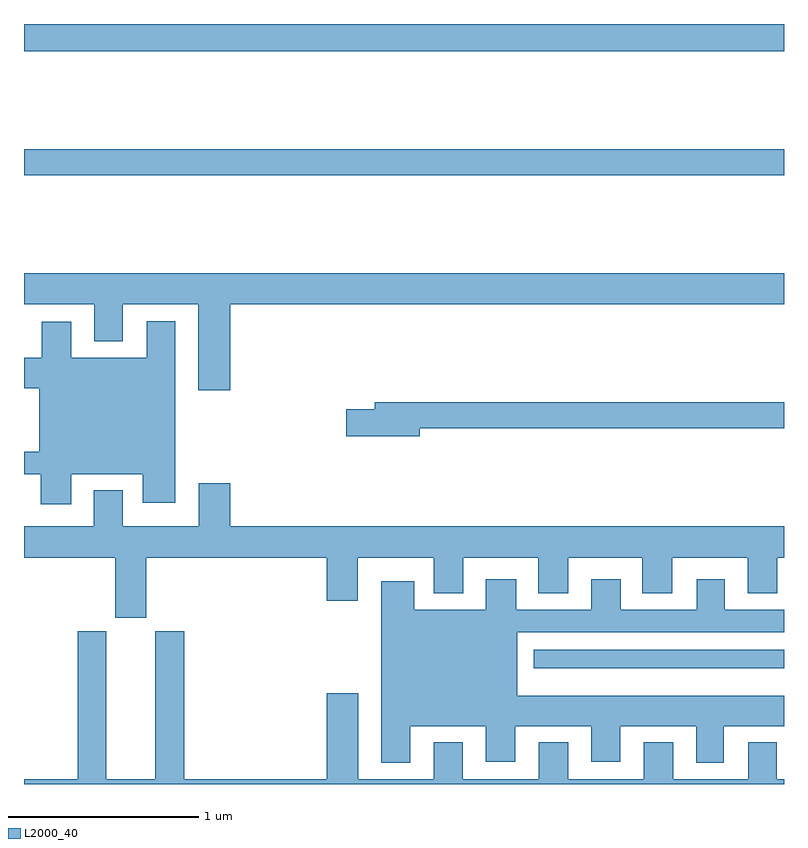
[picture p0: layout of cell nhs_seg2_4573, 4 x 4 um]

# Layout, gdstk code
import gdstk
lib = gdstk.Library(unit=1e-6, precision=1e-09)
def R(c, l, rs):  # rectangles x0, y0, x1, y1
    for r in rs: c.add(gdstk.rectangle(r[:2], r[2:], *l))
def P(c, l, *ps):  # polygons
    for p in ps: c.add(gdstk.Polygon(p, *l))
L2000_40 = (2000, 40)

nhs_seg2_4573 = lib.new_cell('nhs_seg2_4573')
R(nhs_seg2_4573, L2000_40, [(361.682,624.41,363,624.507), (359,627.004,363,627.14), (359,627.656,363,627.8)])
P(nhs_seg2_4573, L2000_40, [(360.086,626.324),(363,626.324),(363,626.488),(359,626.488),(359,626.324),(359.369,626.324),(359.369,626.13),(359.521,626.13),(359.521,626.324),(359.918,626.324),(359.918,625.872),(360.086,625.872)],
  [(359.248,625.43),(359.624,625.43),(359.624,625.28),(359.797,625.28),(359.797,626.236),(359.645,626.236),(359.645,626.044),(359.248,626.044),(359.248,626.233),(359.093,626.233),(359.093,626.044),(359,626.044),(359,625.883),(359.081,625.883),(359.081,625.549),(359,625.549),(359,625.43),(359.087,625.43),(359.087,625.272),(359.248,625.272)],
  [(361.084,625.672),(363,625.672),(363,625.808),(360.845,625.808),(360.845,625.772),(360.696,625.772),(360.696,625.63),(361.084,625.63)],
  [(359.644,624.992),(360.593,624.992),(360.593,624.765),(360.757,624.765),(360.757,624.992),(361.157,624.992),(361.157,624.803),(361.312,624.803),(361.312,624.992),(361.706,624.992),(361.706,624.803),(361.864,624.803),(361.864,624.992),(362.255,624.992),(362.255,624.803),(362.413,624.803),(362.413,624.992),(362.81,624.992),(362.81,624.803),(362.965,624.803),(362.965,624.992),(363,624.992),(363,625.156),(360.086,625.156),(360.086,625.384),(359.921,625.384),(359.921,625.156),(359.521,625.156),(359.521,625.345),(359.366,625.345),(359.366,625.156),(359,625.156),(359,624.992),(359.48,624.992),(359.48,624.675),(359.644,624.675)],
  [(361.033,624.104),(361.43,624.104),(361.43,623.916),(361.585,623.916),(361.585,624.104),(361.985,624.104),(361.985,623.916),(362.137,623.916),(362.137,624.104),(362.537,624.104),(362.537,623.913),(362.683,623.913),(362.683,624.104),(363,624.104),(363,624.265),(361.597,624.265),(361.597,624.599),(363,624.599),(363,624.718),(362.689,624.718),(362.689,624.877),(362.54,624.877),(362.54,624.718),(362.14,624.718),(362.14,624.877),(361.985,624.877),(361.985,624.718),(361.591,624.718),(361.591,624.877),(361.43,624.877),(361.43,624.718),(361.054,624.718),(361.054,624.868),(360.881,624.868),(360.881,623.913),(361.033,623.913)],
  [(363,623.824),(362.962,623.824),(362.962,624.019),(362.813,624.019),(362.813,623.824),(362.416,623.824),(362.416,624.019),(362.261,624.019),(362.261,623.824),(361.864,623.824),(361.864,624.019),(361.709,624.019),(361.709,623.824),(361.309,623.824),(361.309,624.019),(361.157,624.019),(361.157,623.824),(360.76,623.824),(360.76,624.277),(360.593,624.277),(360.593,623.824),(359.843,623.824),(359.843,624.603),(359.69,624.603),(359.69,623.824),(359.434,623.824),(359.434,624.603),(359.282,624.603),(359.282,623.824),(359,623.824),(359,623.8),(363,623.8)])

lib.write_gds('nhs_seg2_4573.gds')
